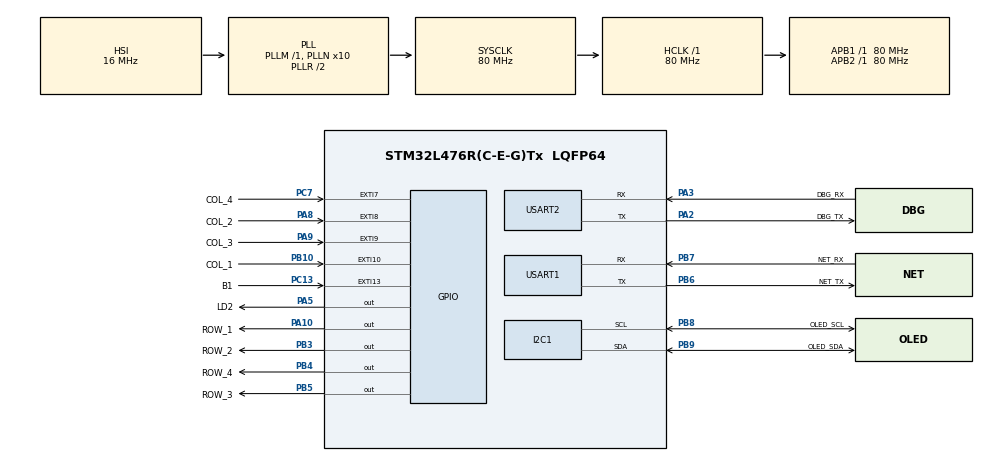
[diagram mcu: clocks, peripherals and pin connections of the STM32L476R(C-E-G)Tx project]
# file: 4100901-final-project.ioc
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I2C1.Timing=0x10909CEC
Mcu.Family=STM32L4
Mcu.Name=STM32L476R(C-E-G)Tx
Mcu.Package=LQFP64
NVIC.EXTI15_10_IRQn=true\:0\:0\:false\:false\:true\:true\:true\:true
NVIC.EXTI9_5_IRQn=true\:0\:0\:false\:false\:true\:true\:true\:true
NVIC.PriorityGroup=NVIC_PRIORITYGROUP_4
NVIC.RTC_Alarm_IRQn=true\:0\:0\:false\:false\:true\:true\:true\:true
NVIC.USART1_IRQn=true\:0\:0\:false\:false\:true\:true\:true\:true
NVIC.USART2_IRQn=true\:0\:0\:false\:false\:true\:true\:true\:true
PA10.GPIO_Label=ROW_1
PA10.Signal=GPIO_Output
PA13\ (JTMS-SWDIO).GPIO_Label=TMS
PA13\ (JTMS-SWDIO).Mode=Serial_Wire
PA13\ (JTMS-SWDIO).Signal=SYS_JTMS-SWDIO
PA14\ (JTCK-SWCLK).GPIO_Label=TCK
PA14\ (JTCK-SWCLK).Mode=Serial_Wire
PA14\ (JTCK-SWCLK).Signal=SYS_JTCK-SWCLK
PA2.GPIO_Label=DBG_TX
PA2.GPIO_Mode=GPIO_MODE_AF_PP
PA2.GPIO_PuPd=GPIO_NOPULL
PA2.GPIO_Speed=GPIO_SPEED_FREQ_VERY_HIGH
PA2.Mode=Asynchronous
PA2.Signal=USART2_TX
PA3.GPIO_Label=DBG_RX
PA3.GPIO_Mode=GPIO_MODE_AF_PP
PA3.GPIO_PuPd=GPIO_NOPULL
PA3.GPIO_Speed=GPIO_SPEED_FREQ_VERY_HIGH
PA3.Mode=Asynchronous
PA3.Signal=USART2_RX
PA5.GPIO_Label=LD2
PA5.GPIO_ModeDefaultOutputPP=GPIO_MODE_OUTPUT_PP
PA5.GPIO_PuPd=GPIO_NOPULL
PA5.GPIO_Speed=GPIO_SPEED_FREQ_LOW
PA5.Signal=GPIO_Output
PA8.GPIO_Label=COL_2
PA8.GPIO_PuPd=GPIO_PULLDOWN
PA8.Signal=GPXTI8
PA9.GPIO_Label=COL_3
PA9.GPIO_PuPd=GPIO_PULLDOWN
PA9.Signal=GPXTI9
PB10.GPIO_Label=COL_1
PB10.GPIO_PuPd=GPIO_PULLDOWN
PB10.Signal=GPXTI10
PB3\ (JTDO-TRACESWO).GPIO_Label=ROW_2
PB3\ (JTDO-TRACESWO).Signal=GPIO_Output
PB4\ (NJTRST).GPIO_Label=ROW_4
PB4\ (NJTRST).Signal=GPIO_Output
PB5.GPIO_Label=ROW_3
PB5.Signal=GPIO_Output
PB6.GPIO_Label=NET_TX
PB6.Mode=Asynchronous
PB6.Signal=USART1_TX
PB7.GPIO_Label=NET_RX
PB7.Mode=Asynchronous
PB7.Signal=USART1_RX
PB8.GPIO_Label=OLED_SCL
PB8.Mode=I2C
PB8.Signal=I2C1_SCL
PB9.GPIO_Label=OLED_SDA
PB9.Mode=I2C
PB9.Signal=I2C1_SDA
PC13.GPIO_Label=B1
PC13.GPIO_ModeDefaultEXTI=GPIO_MODE_IT_FALLING
PC13.GPIO_PuPd=GPIO_NOPULL
PC13.Signal=GPXTI13
PC14-OSC32_IN\ (PC14).GPIO_Label=LSE_IN
PC14-OSC32_IN\ (PC14).Mode=LSE-External-Oscillator
PC14-OSC32_IN\ (PC14).Signal=RCC_OSC32_IN
PC15-OSC32_OUT\ (PC15).GPIO_Label=LSE_OUT
PC15-OSC32_OUT\ (PC15).Mode=LSE-External-Oscillator
PC15-OSC32_OUT\ (PC15).Signal=RCC_OSC32_OUT
PC7.GPIO_Label=COL_4
PC7.GPIO_PuPd=GPIO_PULLDOWN
PC7.Signal=GPXTI7
ProjectManager.HeapSize=0x200
ProjectManager.StackSize=0x400
ProjectManager.TargetToolchain=STM32CubeIDE
RCC.ADCFreq_Value=64000000
RCC.AHBFreq_Value=80000000
RCC.APB1Freq_Value=80000000
RCC.APB1TimFreq_Value=80000000
RCC.APB2Freq_Value=80000000
RCC.APB2TimFreq_Value=80000000
RCC.CortexFreq_Value=80000000
RCC.HCLKFreq_Value=80000000
RCC.HSE_VALUE=8000000
RCC.HSI_VALUE=16000000
RCC.MSI_VALUE=4000000
RCC.PLLN=10
RCC.PLLSourceVirtual=RCC_PLLSOURCE_HSI
RCC.PREFETCH_ENABLE=1
RCC.SYSCLKFreq_VALUE=80000000
RCC.SYSCLKSource=RCC_SYSCLKSOURCE_PLLCLK
RCC.USBFreq_Value=64000000
RCC.VCOOutputFreq_Value=160000000
RTC.Alarm-Alarm\ A=RTC_ALARM_A
RTC.Seconds_A-Alarm\ A=0
USART1.VirtualMode-Asynchronous=VM_ASYNC
USART2.VirtualMode-Asynchronous=VM_ASYNC
VP_RTC_VS_RTC_Activate.Mode=RTC_Enabled
VP_RTC_VS_RTC_Alarm_A_Intern.Mode=Alarm A
VP_RTC_VS_RTC_Calendar.Mode=RTC_Calendar
board=NUCLEO-L476RG

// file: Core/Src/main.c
/* USER CODE BEGIN Header */
/**
  ******************************************************************************
  * @file           : main.c
  * @brief          : Main program body
  ******************************************************************************
  * @attention
  *
  * Copyright (c) 2023 STMicroelectronics.
  * All rights reserved.
  *
  * This software is licensed under terms that can be found in the LICENSE file
  * in the root directory of this software component.
  * If no LICENSE file comes with this software, it is provided AS-IS.
  *
  ******************************************************************************
  */
/* USER CODE END Header */
#include "main.h"

/* USER CODE BEGIN Includes */
#include <stdio.h>
#include <string.h>

#include "lock.h"
#include "keypad.h"
#include "ssd1306.h"
#include "ssd1306_fonts.h"
#include "command_manager.h"
#include "ring_buffer.h"
/* USER CODE END Includes */

I2C_HandleTypeDef hi2c1;

RTC_HandleTypeDef hrtc;

UART_HandleTypeDef huart1;

/* USER CODE BEGIN PV */
volatile uint16_t keypad_event = KEYPAD_EVENT_NONE;
volatile uint8_t command_event = 0;
uint8_t aShowTime[50] = {0};

uint8_t rx_data;
ring_buffer_t rx_rb;
uint8_t flag = 0;
uint8_t received[5];

/* USER CODE END PV */

void SystemClock_Config(void);
static void MX_GPIO_Init(void);
static void MX_USART2_UART_Init(void);
static void MX_I2C1_Init(void);
static void MX_USART1_UART_Init(void);
static void MX_RTC_Init(void);

/* USER CODE BEGIN 0 */
int _write(int file, char *ptr, int len)
{
  // send each byte in blocking mode
  for (uint8_t idx = 0; idx < len; idx++) {
	  while (LL_USART_IsActiveFlag_TXE(USART2) == 0) {
		  // wait until Tx Empty flag becomes true
		  // TODO: add timeout
	  }
	  LL_USART_TransmitData8(USART2, ptr[idx]);
  }
  HAL_UART_Transmit(&huart1, (uint8_t *)ptr, len, HAL_MAX_DELAY);
  return len;
}

//static void RTC_TimeShow(uint8_t* showtime)
//{
////  RTC_DateTypeDef sdatestructureget;
////  RTC_TimeTypeDef stimestructureget;
////
////  /* Get the RTC current Time */
////  HAL_RTC_GetTime(&hrtc, &stimestructureget, RTC_FORMAT_BIN);
////  /* Get the RTC current Date */
////  HAL_RTC_GetDate(&hrtc, &sdatestructureget, RTC_FORMAT_BIN);
//  /* Display time Format : hh:mm:ss */
//  printf((char*)showtime,"%02d:%02d:%02d",sTime.Hours, stimestructureget.Minutes, stimestructureget.Seconds);
//}

/**
  * @brief  Alarm callback
  * @param  hrtc : RTC handle
  * @retval None
  */
void HAL_RTC_AlarmAEventCallback(RTC_HandleTypeDef *hrtc)
{
  printf("Informe de conexión a las 6:15 pm"
		  "del dia 01/12/2023 \r\n");
}

void HAL_UART_RxCpltCallback(UART_HandleTypeDef *huart)
{
	ring_buffer_put(&rx_rb, rx_data);

	if (ring_buffer_is_full(&rx_rb) == 0){
		HAL_UART_Receive_IT(&huart1, &rx_data, 1);
	}
}

void keypad_it_callback(uint16_t pin)
{
	keypad_event = pin;
}
/* USER CODE END 0 */

int main(void)
{

  /* MCU Configuration--------------------------------------------------------*/

  /* Reset of all peripherals, Initializes the Flash interface and the Systick. */
  HAL_Init();

  /* Configure the system clock */
  SystemClock_Config();

  /* Initialize all configured peripherals */
  MX_GPIO_Init();
  MX_USART2_UART_Init();
  MX_I2C1_Init();
  MX_USART1_UART_Init();
  MX_RTC_Init();
  /* USER CODE BEGIN 2 */
  lock_init();
  keypad_init();
  ring_buffer_init(&rx_rb, received, 5);

  HAL_UART_Receive_IT(&huart1, &rx_data, 1);
  /* USER CODE END 2 */

  /* Infinite loop */
  /* USER CODE BEGIN WHILE */
  printf("\r\nStarted\r\nMenu: If you want access to system, you must input: \r\n"
		  "block: Blocked\r\nstart: Opened \r\n");
  while (1)
  {
	  uint8_t activate = lock_command_handler(received);
	  while(activate == 1) {
		  uint8_t key_pressed = keypad_run(&keypad_event);
		  	if (key_pressed != KEY_PRESSED_NONE) {
		  	 	lock_sequence_handler(key_pressed);
		  	 }
 	  }
//	  uint8_t key_pressed = keypad_run(&keypad_event);
//	  if (key_pressed != KEY_PRESSED_NONE) {
//	  	lock_sequence_handler(key_pressed);
//	  }

    /* USER CODE END WHILE */

  }
}

void SystemClock_Config(void)
{
  RCC_OscInitTypeDef RCC_OscInitStruct = {0};
  RCC_ClkInitTypeDef RCC_ClkInitStruct = {0};

  /** Configure the main internal regulator output voltage
  */
  if (HAL_PWREx_ControlVoltageScaling(PWR_REGULATOR_VOLTAGE_SCALE1) != HAL_OK)
  {
    Error_Handler();
  }

  /** Initializes the RCC Oscillators according to the specified parameters
  * in the RCC_OscInitTypeDef structure.
  */
  RCC_OscInitStruct.OscillatorType = RCC_OSCILLATORTYPE_HSI|RCC_OSCILLATORTYPE_LSI;
  RCC_OscInitStruct.HSIState = RCC_HSI_ON;
  RCC_OscInitStruct.HSICalibrationValue = RCC_HSICALIBRATION_DEFAULT;
  RCC_OscInitStruct.LSIState = RCC_LSI_ON;
  RCC_OscInitStruct.PLL.PLLState = RCC_PLL_ON;
  RCC_OscInitStruct.PLL.PLLSource = RCC_PLLSOURCE_HSI;
  RCC_OscInitStruct.PLL.PLLM = 1;
  RCC_OscInitStruct.PLL.PLLN = 10;
  RCC_OscInitStruct.PLL.PLLP = RCC_PLLP_DIV7;
  RCC_OscInitStruct.PLL.PLLQ = RCC_PLLQ_DIV2;
  RCC_OscInitStruct.PLL.PLLR = RCC_PLLR_DIV2;
  if (HAL_RCC_OscConfig(&RCC_OscInitStruct) != HAL_OK)
  {
    Error_Handler();
  }

  /** Initializes the CPU, AHB and APB buses clocks
  */
  RCC_ClkInitStruct.ClockType = RCC_CLOCKTYPE_HCLK|RCC_CLOCKTYPE_SYSCLK
                              |RCC_CLOCKTYPE_PCLK1|RCC_CLOCKTYPE_PCLK2;
  RCC_ClkInitStruct.SYSCLKSource = RCC_SYSCLKSOURCE_PLLCLK;
  RCC_ClkInitStruct.AHBCLKDivider = RCC_SYSCLK_DIV1;
  RCC_ClkInitStruct.APB1CLKDivider = RCC_HCLK_DIV1;
  RCC_ClkInitStruct.APB2CLKDivider = RCC_HCLK_DIV1;

  if (HAL_RCC_ClockConfig(&RCC_ClkInitStruct, FLASH_LATENCY_4) != HAL_OK)
  {
    Error_Handler();
  }
}

static void MX_I2C1_Init(void)
{

  hi2c1.Instance = I2C1;
  hi2c1.Init.Timing = 0x10909CEC;
  hi2c1.Init.OwnAddress1 = 0;
  hi2c1.Init.AddressingMode = I2C_ADDRESSINGMODE_7BIT;
  hi2c1.Init.DualAddressMode = I2C_DUALADDRESS_DISABLE;
  hi2c1.Init.OwnAddress2 = 0;
  hi2c1.Init.OwnAddress2Masks = I2C_OA2_NOMASK;
  hi2c1.Init.GeneralCallMode = I2C_GENERALCALL_DISABLE;
  hi2c1.Init.NoStretchMode = I2C_NOSTRETCH_DISABLE;
  if (HAL_I2C_Init(&hi2c1) != HAL_OK)
  {
    Error_Handler();
  }

  /** Configure Analogue filter
  */
  if (HAL_I2CEx_ConfigAnalogFilter(&hi2c1, I2C_ANALOGFILTER_ENABLE) != HAL_OK)
  {
    Error_Handler();
  }

  /** Configure Digital filter
  */
  if (HAL_I2CEx_ConfigDigitalFilter(&hi2c1, 0) != HAL_OK)
  {
    Error_Handler();
  }

}

static void MX_RTC_Init(void)
{

  RTC_TimeTypeDef sTime = {0};
  RTC_DateTypeDef sDate = {0};
  RTC_AlarmTypeDef sAlarm = {0};

  /** Initialize RTC Only
  */
  hrtc.Instance = RTC;
  hrtc.Init.HourFormat = RTC_HOURFORMAT_24;
  hrtc.Init.AsynchPrediv = 127;
  hrtc.Init.SynchPrediv = 255;
  hrtc.Init.OutPut = RTC_OUTPUT_DISABLE;
  hrtc.Init.OutPutRemap = RTC_OUTPUT_REMAP_NONE;
  hrtc.Init.OutPutPolarity = RTC_OUTPUT_POLARITY_HIGH;
  hrtc.Init.OutPutType = RTC_OUTPUT_TYPE_OPENDRAIN;
  if (HAL_RTC_Init(&hrtc) != HAL_OK)
  {
    Error_Handler();
  }

  /** Initialize RTC and set the Time and Date
  */
  sTime.Hours = 0x06;
  sTime.Minutes = 0x00;
  sTime.Seconds = 0x00;
  sTime.DayLightSaving = RTC_DAYLIGHTSAVING_NONE;
  sTime.StoreOperation = RTC_STOREOPERATION_RESET;
  if (HAL_RTC_SetTime(&hrtc, &sTime, RTC_FORMAT_BCD) != HAL_OK)
  {
    Error_Handler();
  }
  sDate.WeekDay = RTC_WEEKDAY_FRIDAY;
  sDate.Month = RTC_MONTH_DECEMBER;
  sDate.Date = 0x01;
  sDate.Year = 0x23;

  if (HAL_RTC_SetDate(&hrtc, &sDate, RTC_FORMAT_BCD) != HAL_OK)
  {
    Error_Handler();
  }

  /** Enable the Alarm A
  */
  sAlarm.AlarmTime.Hours = 0x6;
  sAlarm.AlarmTime.Minutes = 0x0;
  sAlarm.AlarmTime.Seconds = 0x10;
  sAlarm.AlarmTime.SubSeconds = 0x30;
  sAlarm.AlarmTime.DayLightSaving = RTC_DAYLIGHTSAVING_NONE;
  sAlarm.AlarmTime.StoreOperation = RTC_STOREOPERATION_RESET;
  sAlarm.AlarmMask = RTC_ALARMMASK_MINUTES;
  sAlarm.AlarmSubSecondMask = RTC_ALARMSUBSECONDMASK_ALL;
  sAlarm.AlarmDateWeekDaySel = RTC_ALARMDATEWEEKDAYSEL_DATE;
  sAlarm.AlarmDateWeekDay = 0x1;
  sAlarm.Alarm = RTC_ALARM_A;
  if (HAL_RTC_SetAlarm_IT(&hrtc, &sAlarm, RTC_FORMAT_BCD) != HAL_OK)
  {
    Error_Handler();
  }
  /* USER CODE BEGIN RTC_Init 2 */
  printf("%02d:%02d:%02d",sTime.Hours, sTime.Minutes, sTime.Seconds);
  /* USER CODE END RTC_Init 2 */

}

static void MX_USART1_UART_Init(void)
{

  huart1.Instance = USART1;
  huart1.Init.BaudRate = 115200;
  huart1.Init.WordLength = UART_WORDLENGTH_8B;
  huart1.Init.StopBits = UART_STOPBITS_1;
  huart1.Init.Parity = UART_PARITY_NONE;
  huart1.Init.Mode = UART_MODE_TX_RX;
  huart1.Init.HwFlowCtl = UART_HWCONTROL_NONE;
  huart1.Init.OverSampling = UART_OVERSAMPLING_16;
  huart1.Init.OneBitSampling = UART_ONE_BIT_SAMPLE_DISABLE;
  huart1.AdvancedInit.AdvFeatureInit = UART_ADVFEATURE_NO_INIT;
  if (HAL_UART_Init(&huart1) != HAL_OK)
  {
    Error_Handler();
  }

}

static void MX_USART2_UART_Init(void)
{

  LL_USART_InitTypeDef USART_InitStruct = {0};

  LL_GPIO_InitTypeDef GPIO_InitStruct = {0};
  RCC_PeriphCLKInitTypeDef PeriphClkInit = {0};

  /** Initializes the peripherals clock
  */
  PeriphClkInit.PeriphClockSelection = RCC_PERIPHCLK_USART2;
  PeriphClkInit.Usart2ClockSelection = RCC_USART2CLKSOURCE_PCLK1;
  if (HAL_RCCEx_PeriphCLKConfig(&PeriphClkInit) != HAL_OK)
  {
    Error_Handler();
  }

  /* Peripheral clock enable */
  LL_APB1_GRP1_EnableClock(LL_APB1_GRP1_PERIPH_USART2);

  LL_AHB2_GRP1_EnableClock(LL_AHB2_GRP1_PERIPH_GPIOA);
  /**USART2 GPIO Configuration
  PA2   ------> USART2_TX
  PA3   ------> USART2_RX
  */
  GPIO_InitStruct.Pin = DBG_TX_Pin|DBG_RX_Pin;
  GPIO_InitStruct.Mode = LL_GPIO_MODE_ALTERNATE;
  GPIO_InitStruct.Speed = LL_GPIO_SPEED_FREQ_VERY_HIGH;
  GPIO_InitStruct.OutputType = LL_GPIO_OUTPUT_PUSHPULL;
  GPIO_InitStruct.Pull = LL_GPIO_PULL_NO;
  GPIO_InitStruct.Alternate = LL_GPIO_AF_7;
  LL_GPIO_Init(GPIOA, &GPIO_InitStruct);

  /* USART2 interrupt Init */
  NVIC_SetPriority(USART2_IRQn, NVIC_EncodePriority(NVIC_GetPriorityGrouping(),0, 0));
  NVIC_EnableIRQ(USART2_IRQn);

  USART_InitStruct.BaudRate = 115200;
  USART_InitStruct.DataWidth = LL_USART_DATAWIDTH_8B;
  USART_InitStruct.StopBits = LL_USART_STOPBITS_1;
  USART_InitStruct.Parity = LL_USART_PARITY_NONE;
  USART_InitStruct.TransferDirection = LL_USART_DIRECTION_TX_RX;
  USART_InitStruct.HardwareFlowControl = LL_USART_HWCONTROL_NONE;
  USART_InitStruct.OverSampling = LL_USART_OVERSAMPLING_16;
  LL_USART_Init(USART2, &USART_InitStruct);
  LL_USART_ConfigAsyncMode(USART2);
  LL_USART_Enable(USART2);

}

static void MX_GPIO_Init(void)
{
  LL_EXTI_InitTypeDef EXTI_InitStruct = {0};
  LL_GPIO_InitTypeDef GPIO_InitStruct = {0};

  /* GPIO Ports Clock Enable */
  LL_AHB2_GRP1_EnableClock(LL_AHB2_GRP1_PERIPH_GPIOC);
  LL_AHB2_GRP1_EnableClock(LL_AHB2_GRP1_PERIPH_GPIOA);
  LL_AHB2_GRP1_EnableClock(LL_AHB2_GRP1_PERIPH_GPIOB);

  /**/
  LL_GPIO_ResetOutputPin(GPIOA, LD2_Pin|ROW_1_Pin);

  /**/
  LL_GPIO_ResetOutputPin(GPIOB, ROW_2_Pin|ROW_4_Pin|ROW_3_Pin);

  /**/
  LL_SYSCFG_SetEXTISource(LL_SYSCFG_EXTI_PORTC, LL_SYSCFG_EXTI_LINE13);

  /**/
  LL_SYSCFG_SetEXTISource(LL_SYSCFG_EXTI_PORTB, LL_SYSCFG_EXTI_LINE10);

  /**/
  LL_SYSCFG_SetEXTISource(LL_SYSCFG_EXTI_PORTC, LL_SYSCFG_EXTI_LINE7);

  /**/
  LL_SYSCFG_SetEXTISource(LL_SYSCFG_EXTI_PORTA, LL_SYSCFG_EXTI_LINE8);

  /**/
  LL_SYSCFG_SetEXTISource(LL_SYSCFG_EXTI_PORTA, LL_SYSCFG_EXTI_LINE9);

  /**/
  EXTI_InitStruct.Line_0_31 = LL_EXTI_LINE_13;
  EXTI_InitStruct.Line_32_63 = LL_EXTI_LINE_NONE;
  EXTI_InitStruct.LineCommand = ENABLE;
  EXTI_InitStruct.Mode = LL_EXTI_MODE_IT;
  EXTI_InitStruct.Trigger = LL_EXTI_TRIGGER_FALLING;
  LL_EXTI_Init(&EXTI_InitStruct);

  /**/
  EXTI_InitStruct.Line_0_31 = LL_EXTI_LINE_10;
  EXTI_InitStruct.Line_32_63 = LL_EXTI_LINE_NONE;
  EXTI_InitStruct.LineCommand = ENABLE;
  EXTI_InitStruct.Mode = LL_EXTI_MODE_IT;
  EXTI_InitStruct.Trigger = LL_EXTI_TRIGGER_RISING;
  LL_EXTI_Init(&EXTI_InitStruct);

  /**/
  EXTI_InitStruct.Line_0_31 = LL_EXTI_LINE_7;
  EXTI_InitStruct.Line_32_63 = LL_EXTI_LINE_NONE;
  EXTI_InitStruct.LineCommand = ENABLE;
  EXTI_InitStruct.Mode = LL_EXTI_MODE_IT;
  EXTI_InitStruct.Trigger = LL_EXTI_TRIGGER_RISING;
  LL_EXTI_Init(&EXTI_InitStruct);

  /**/
  EXTI_InitStruct.Line_0_31 = LL_EXTI_LINE_8;
  EXTI_InitStruct.Line_32_63 = LL_EXTI_LINE_NONE;
  EXTI_InitStruct.LineCommand = ENABLE;
  EXTI_InitStruct.Mode = LL_EXTI_MODE_IT;
  EXTI_InitStruct.Trigger = LL_EXTI_TRIGGER_RISING;
  LL_EXTI_Init(&EXTI_InitStruct);

  /**/
  EXTI_InitStruct.Line_0_31 = LL_EXTI_LINE_9;
  EXTI_InitStruct.Line_32_63 = LL_EXTI_LINE_NONE;
  EXTI_InitStruct.LineCommand = ENABLE;
  EXTI_InitStruct.Mode = LL_EXTI_MODE_IT;
  EXTI_InitStruct.Trigger = LL_EXTI_TRIGGER_RISING;
  LL_EXTI_Init(&EXTI_InitStruct);

  /**/
  LL_GPIO_SetPinPull(B1_GPIO_Port, B1_Pin, LL_GPIO_PULL_NO);

  /**/
  LL_GPIO_SetPinPull(COL_1_GPIO_Port, COL_1_Pin, LL_GPIO_PULL_DOWN);

  /**/
  LL_GPIO_SetPinPull(COL_4_GPIO_Port, COL_4_Pin, LL_GPIO_PULL_DOWN);

  /**/
  LL_GPIO_SetPinPull(COL_2_GPIO_Port, COL_2_Pin, LL_GPIO_PULL_DOWN);

  /**/
  LL_GPIO_SetPinPull(COL_3_GPIO_Port, COL_3_Pin, LL_GPIO_PULL_DOWN);

  /**/
  LL_GPIO_SetPinMode(B1_GPIO_Port, B1_Pin, LL_GPIO_MODE_INPUT);

  /**/
  LL_GPIO_SetPinMode(COL_1_GPIO_Port, COL_1_Pin, LL_GPIO_MODE_INPUT);

  /**/
  LL_GPIO_SetPinMode(COL_4_GPIO_Port, COL_4_Pin, LL_GPIO_MODE_INPUT);

  /**/
  LL_GPIO_SetPinMode(COL_2_GPIO_Port, COL_2_Pin, LL_GPIO_MODE_INPUT);

  /**/
  LL_GPIO_SetPinMode(COL_3_GPIO_Port, COL_3_Pin, LL_GPIO_MODE_INPUT);

  /**/
  GPIO_InitStruct.Pin = LD2_Pin|ROW_1_Pin;
  GPIO_InitStruct.Mode = LL_GPIO_MODE_OUTPUT;
  GPIO_InitStruct.Speed = LL_GPIO_SPEED_FREQ_LOW;
  GPIO_InitStruct.OutputType = LL_GPIO_OUTPUT_PUSHPULL;
  GPIO_InitStruct.Pull = LL_GPIO_PULL_NO;
  LL_GPIO_Init(GPIOA, &GPIO_InitStruct);

  /**/
  GPIO_InitStruct.Pin = ROW_2_Pin|ROW_4_Pin|ROW_3_Pin;
  GPIO_InitStruct.Mode = LL_GPIO_MODE_OUTPUT;
  GPIO_InitStruct.Speed = LL_GPIO_SPEED_FREQ_LOW;
  GPIO_InitStruct.OutputType = LL_GPIO_OUTPUT_PUSHPULL;
  GPIO_InitStruct.Pull = LL_GPIO_PULL_NO;
  LL_GPIO_Init(GPIOB, &GPIO_InitStruct);

  /* EXTI interrupt init*/
  NVIC_SetPriority(EXTI9_5_IRQn, NVIC_EncodePriority(NVIC_GetPriorityGrouping(),0, 0));
  NVIC_EnableIRQ(EXTI9_5_IRQn);
  NVIC_SetPriority(EXTI15_10_IRQn, NVIC_EncodePriority(NVIC_GetPriorityGrouping(),0, 0));
  NVIC_EnableIRQ(EXTI15_10_IRQn);

}

void Error_Handler(void)
{
  __disable_irq();
  while (1)
  {
  }
}
